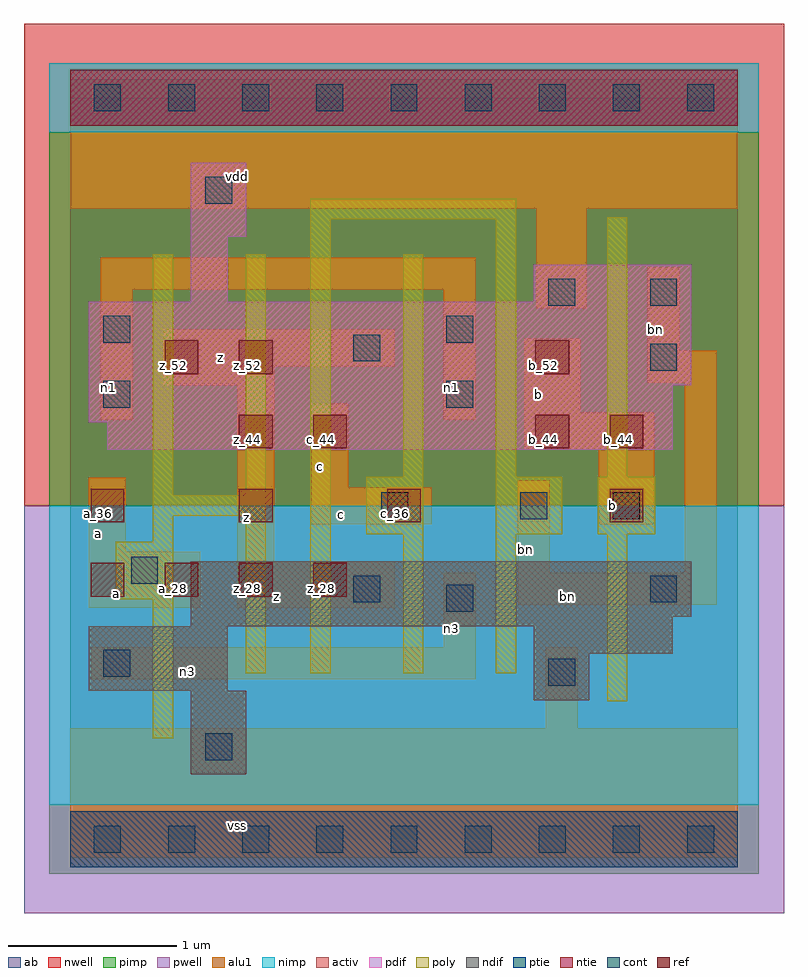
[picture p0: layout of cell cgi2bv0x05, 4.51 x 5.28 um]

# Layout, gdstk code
import gdstk
lib = gdstk.Library(unit=1e-6, precision=2.5e-09)
def R(c, l, rs):  # rectangles x0, y0, x1, y1
    for r in rs: c.add(gdstk.rectangle(r[:2], r[2:], *l))
def A(c, l, x, y, w, h, nx, ny, dx, dy):  # array of equal rectangles
    R(c, l, [(x+i*dx, y+j*dy, x+i*dx+w, y+j*dy+h) for i in range(nx) for j in range(ny)])
ndif = (3, 0)
pdif = (4, 0)
ntie = (5, 0)
ptie = (6, 0)
ref = (24, 0)
cont = (25, 0)
pwell = (41, 0)
nwell = (42, 0)
activ = (43, 0)
pimp = (44, 0)
nimp = (45, 0)
poly = (46, 0)
alu1 = (49, 0)
ab = (63, 0)

cgi2bv0x05 = lib.new_cell('cgi2bv0x05')
R(cgi2bv0x05, ndif, [(0.715,0.385,1.045,0.88), (2.75,0.825,3.08,1.1), (0.11,0.88,0.935,1.265), (2.75,1.1,3.575,1.265), (0.715,1.265,3.575,1.32), (0.715,1.32,3.685,1.65)])
R(cgi2bv0x05, pdif, [(0.22,2.31,3.575,2.475), (0.11,2.475,3.575,2.695), (0.11,2.695,3.685,3.19), (0.715,3.19,0.935,3.575), (2.75,3.19,3.685,3.41), (0.715,3.575,1.045,4.015)])
R(cgi2bv0x05, ntie, [(0,4.235,3.96,4.565)])
R(cgi2bv0x05, ptie, [(0,-0.165,3.96,0.165)])
A(cgi2bv0x05, ref, 0.12, 1.44, 0.2, 0.2, 4, 1, 0.44, 0)
A(cgi2bv0x05, ref, 0.12, 1.88, 0.2, 0.2, 3, 1, 0.88, 0)
R(cgi2bv0x05, ref, [(3.2,1.88,3.4,2.08), (1,2.32,1.2,2.52), (1.44,2.32,1.64,2.52), (2.76,2.32,2.96,2.52), (3.2,2.32,3.4,2.52), (0.56,2.76,0.76,2.96), (1,2.76,1.2,2.96), (2.76,2.76,2.96,2.96)])
A(cgi2bv0x05, cont, 0.14, -0.08, 0.16, 0.16, 9, 2, 0.44, 4.4)
R(cgi2bv0x05, cont, [(0.8,0.47,0.96,0.63), (2.835,0.91,2.995,1.07), (0.195,0.965,0.355,1.125), (2.23,1.35,2.39,1.51), (1.68,1.405,1.84,1.565), (3.44,1.405,3.6,1.565), (0.36,1.515,0.52,1.675), (1.845,1.9,2.005,2.06), (2.67,1.9,2.83,2.06), (3.22,1.9,3.38,2.06), (0.195,2.56,0.355,2.72), (2.23,2.56,2.39,2.72), (3.44,2.78,3.6,2.94), (1.68,2.835,1.84,2.995), (0.195,2.945,0.355,3.105), (2.23,2.945,2.39,3.105), (2.835,3.165,2.995,3.325), (3.44,3.165,3.6,3.325), (0.8,3.77,0.96,3.93)])
R(cgi2bv0x05, pwell, [(-0.275,-0.44,4.235,1.98)])
R(cgi2bv0x05, nwell, [(-0.275,1.98,4.235,4.84)])
R(cgi2bv0x05, activ, [(0,-0.165,3.96,0.165), (0.715,0.385,1.045,0.88), (2.75,0.825,3.08,1.1), (0.11,0.88,0.935,1.265), (2.75,1.1,3.575,1.265), (0.715,1.265,3.575,1.32), (0.715,1.32,3.685,1.65), (0.22,2.31,3.575,2.475), (0.11,2.475,3.575,2.695), (0.11,2.695,3.685,3.19), (0.715,3.19,0.935,3.575), (2.75,3.19,3.685,3.41), (0.715,3.575,1.045,4.015), (0,4.235,3.96,4.565)])
R(cgi2bv0x05, pimp, [(-0.125,-0.205,4.085,0.205), (-0.125,1.98,4.085,4.195)])
R(cgi2bv0x05, nimp, [(-0.125,0.205,4.085,1.98), (-0.125,4.195,4.085,4.605)])
R(cgi2bv0x05, poly, [(0.49,0.6,0.61,1.425), (3.185,0.82,3.305,1.81), (1.04,0.985,1.16,1.92), (1.425,0.985,1.545,3.68), (1.975,0.985,2.095,1.81), (2.525,0.985,2.645,1.81), (0.27,1.425,0.61,1.765), (0.49,1.765,0.61,1.92), (1.755,1.81,2.095,2.15), (2.525,1.81,2.92,2.15), (3.13,1.81,3.47,2.15), (0.49,1.92,1.16,2.04), (0.49,2.04,0.61,3.47), (1.04,2.04,1.16,3.47), (1.975,2.15,2.095,3.47), (2.525,2.15,2.645,3.68), (3.185,2.15,3.305,3.69), (1.425,3.68,2.645,3.8)])
R(cgi2bv0x05, alu1, [(0,-0.11,3.96,0.66), (2.82,0.66,3.01,1.14), (0.125,0.95,2.405,1.14), (2.215,1.14,2.405,1.58), (0.11,1.375,0.77,1.705), (0.99,1.375,1.925,1.65), (2.655,1.39,3.835,1.58), (2.655,1.58,2.845,2.13), (3.645,1.58,3.835,2.71), (0.99,1.65,1.21,2.695), (0.11,1.705,0.33,2.145), (1.43,1.87,2.145,2.09), (3.135,1.87,3.465,2.31), (1.43,2.09,1.65,2.585), (2.695,2.31,3.465,2.53), (0.18,2.49,0.37,3.26), (2.215,2.49,2.405,3.26), (2.695,2.53,3.025,2.97), (0.55,2.695,1.21,2.805), (3.425,2.71,3.835,2.9), (0.55,2.805,1.925,3.025), (3.425,2.9,3.615,3.395), (2.765,3.15,3.065,3.74), (0.18,3.26,2.405,3.45), (0,3.74,3.96,4.51)])
R(cgi2bv0x05, ab, [(0,0,3.96,4.4)])
cgi2bv0x05.add(gdstk.Label('vss', (0.99,0.0825), layer=49, texttype=0))
cgi2bv0x05.add(gdstk.Label('n3', (0.695,0.9975), layer=49, texttype=0))
cgi2bv0x05.add(gdstk.Label('bn', (2.95,1.4375), layer=49, texttype=0))
cgi2bv0x05.add(gdstk.Label('n3', (2.2625,1.25), layer=49, texttype=0))
cgi2bv0x05.add(gdstk.Label('b', (3.2175,1.98), layer=49, texttype=0))
cgi2bv0x05.add(gdstk.Label('bn', (2.7025,1.7175), layer=49, texttype=0))
cgi2bv0x05.add(gdstk.Label('z', (1.2225,1.4425), layer=49, texttype=0))
cgi2bv0x05.add(gdstk.Label('c', (1.6075,1.925), layer=49, texttype=0))
cgi2bv0x05.add(gdstk.Label('bn', (3.4725,3.0225), layer=49, texttype=0))
cgi2bv0x05.add(gdstk.Label('b', (2.7775,2.64), layer=49, texttype=0))
cgi2bv0x05.add(gdstk.Label('n1', (2.2625,2.6825), layer=49, texttype=0))
cgi2bv0x05.add(gdstk.Label('c', (1.485,2.2125), layer=49, texttype=0))
cgi2bv0x05.add(gdstk.Label('z', (1.045,1.91), layer=49, texttype=0))
cgi2bv0x05.add(gdstk.Label('a', (0.275,1.4575), layer=49, texttype=0))
cgi2bv0x05.add(gdstk.Label('a', (0.165,1.815), layer=49, texttype=0))
cgi2bv0x05.add(gdstk.Label('z', (0.8925,2.86), layer=49, texttype=0))
cgi2bv0x05.add(gdstk.Label('n1', (0.2275,2.6825), layer=49, texttype=0))
cgi2bv0x05.add(gdstk.Label('vdd', (0.99,3.9325), layer=49, texttype=0))
cgi2bv0x05.add(gdstk.Label('b_44', (2.81,2.37), layer=24, texttype=0))
cgi2bv0x05.add(gdstk.Label('a_28', (0.61,1.49), layer=24, texttype=0))
cgi2bv0x05.add(gdstk.Label('z_52', (0.61,2.81), layer=24, texttype=0))
cgi2bv0x05.add(gdstk.Label('z_28', (1.05,1.49), layer=24, texttype=0))
cgi2bv0x05.add(gdstk.Label('z_36', (1.05,1.93), layer=24, texttype=0))
cgi2bv0x05.add(gdstk.Label('z_44', (1.05,2.37), layer=24, texttype=0))
cgi2bv0x05.add(gdstk.Label('z_52', (1.05,2.81), layer=24, texttype=0))
cgi2bv0x05.add(gdstk.Label('z_28', (1.49,1.49), layer=24, texttype=0))
cgi2bv0x05.add(gdstk.Label('c_44', (1.49,2.37), layer=24, texttype=0))
cgi2bv0x05.add(gdstk.Label('c_36', (1.93,1.93), layer=24, texttype=0))
cgi2bv0x05.add(gdstk.Label('a_28', (0.17,1.49), layer=24, texttype=0))
cgi2bv0x05.add(gdstk.Label('a_36', (0.17,1.93), layer=24, texttype=0))
cgi2bv0x05.add(gdstk.Label('b_52', (2.81,2.81), layer=24, texttype=0))
cgi2bv0x05.add(gdstk.Label('b_36', (3.25,1.93), layer=24, texttype=0))
cgi2bv0x05.add(gdstk.Label('b_44', (3.25,2.37), layer=24, texttype=0))

lib.write_gds('cgi2bv0x05.gds')
